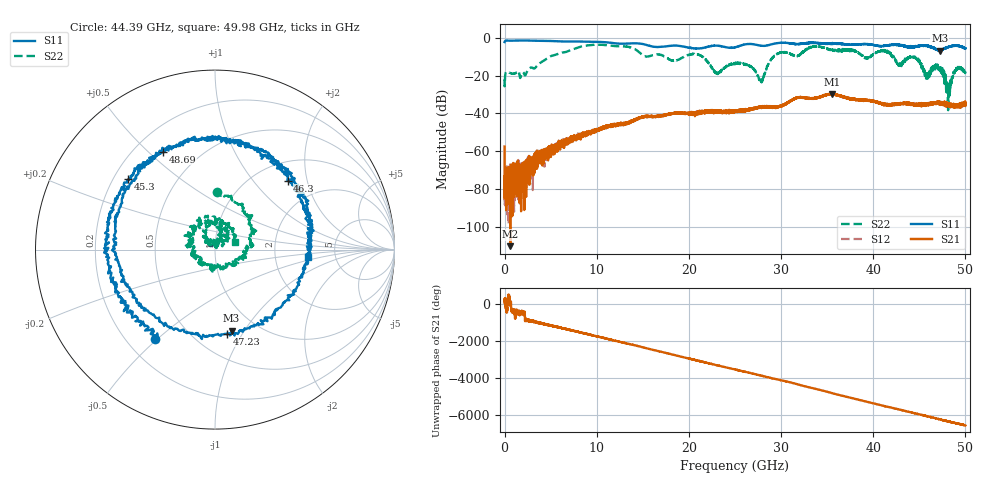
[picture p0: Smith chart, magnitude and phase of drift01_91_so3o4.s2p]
!Created with skrf (http://scikit-rf.org).
# Hz S RI R 50.0
!freq ReS11 ImS11 ReS21 ImS21 ReS12 ImS12 ReS22 ImS22
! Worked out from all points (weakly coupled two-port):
!   10001 points, 300 kHz to 50 GHz, reference 50 ohm
!   highest |S21| = -29.62 dB at 35.57 GHz (marker M1); lowest = -110.2 dB at 615.3 MHz (marker M2)
!   lowest |S11| = -6.7 dB at 47.21 GHz (marker M3), VSWR 2.72, Z = 38.2 - j44 ohm
!   |S11| at or under -10 dB: nowhere
!   |S22| runs from -38.3 to -3.6 dB; largest |S21 - S12| = 0.0041
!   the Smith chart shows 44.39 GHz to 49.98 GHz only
!   S11 on the Smith chart (normalised r, x): 44.39 GHz: 0.32, -0.49; 45.3 GHz: 0.26, +0.33; 46.3 GHz: 1.37, +1.53; 47.23 GHz: 0.71, -0.86; 48.69 GHz: 0.32, +0.56; 49.98 GHz: 3.14, -0.33
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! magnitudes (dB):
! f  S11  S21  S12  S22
! 300 kHz  -2.2  -57.5  -61.4  -21.9
! 255.3 MHz  -1.4  -72.1  -79.1  -18.0
! 615.3 MHz  -1.5  -110.2  -68.3  -18.6
! 8.335 GHz  -1.9  -52.0  -51.5  -4.6
! 16.67 GHz  -4.8  -41.5  -41.8  -8.7
! 20.97 GHz  -5.6  -39.3  -39.2  -8.7
! 23.08 GHz  -4.1  -38.8  -38.9  -18.7
! 25 GHz  -5.0  -39.1  -39.3  -13.7
! 27.84 GHz  -4.1  -36.6  -36.8  -23.0
! 29.48 GHz  -2.8  -36.6  -36.7  -8.8
! 33.34 GHz  -2.6  -32.1  -31.9  -4.8
! 35.57 GHz  -2.7  -29.6  -29.7  -6.3
! 41.67 GHz  -3.9  -35.6  -35.6  -7.8
! 44.39 GHz  -4.4  -34.8  -35.2  -9.9
! 45.3 GHz  -4.1  -35.8  -35.3  -16.1
! 46.3 GHz  -5.1  -34.5  -34.7  -16.3
! 47.21 GHz  -6.7  -34.6  -34.6  -16.5
! 47.23 GHz  -6.5  -34.2  -34.4  -17.1
! 48.13 GHz  -4.9  -35.3  -35.4  -32.4
! 48.69 GHz  -4.2  -36.4  -35.4  -19.1
! 49.98 GHz  -5.7  -34.5  -34.6  -18.4
! 50 GHz  -5.5  -35.7  -35.3  -18.6
